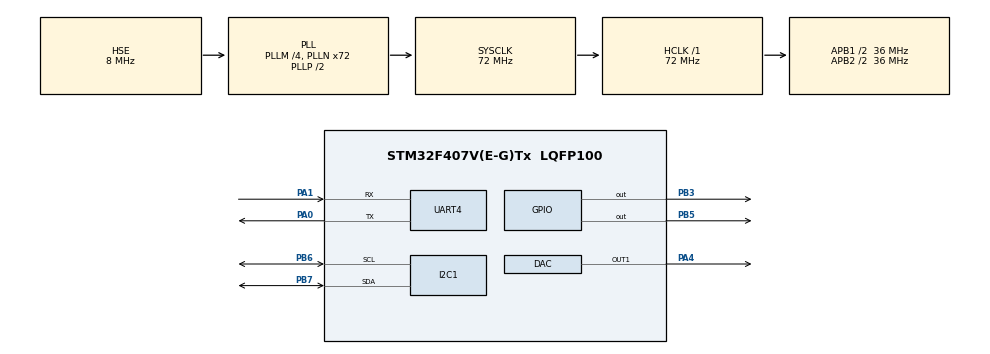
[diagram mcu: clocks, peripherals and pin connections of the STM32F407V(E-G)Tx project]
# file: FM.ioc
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DAC.DAC_OutputBuffer=DAC_OUTPUTBUFFER_DISABLE
DAC.DAC_Trigger=DAC_TRIGGER_T2_TRGO
DAC.WaveGeneration=DISABLE
Dma.DAC1.0.Direction=DMA_MEMORY_TO_PERIPH
Dma.DAC1.0.FIFOMode=DMA_FIFOMODE_DISABLE
Dma.DAC1.0.Instance=DMA1_Stream5
Dma.DAC1.0.MemDataAlignment=DMA_MDATAALIGN_HALFWORD
Dma.DAC1.0.MemInc=DMA_MINC_ENABLE
Dma.DAC1.0.Mode=DMA_CIRCULAR
Dma.DAC1.0.PeriphDataAlignment=DMA_PDATAALIGN_HALFWORD
Dma.DAC1.0.PeriphInc=DMA_PINC_DISABLE
Dma.DAC1.0.Priority=DMA_PRIORITY_LOW
Dma.Request0=DAC1
I2C1.OwnAddress=0x58
Mcu.Family=STM32F4
Mcu.Name=STM32F407V(E-G)Tx
Mcu.Package=LQFP100
NVIC.DMA1_Stream5_IRQn=true\:0\:0\:false\:false\:true\:false\:true\:true
NVIC.I2C1_ER_IRQn=true\:0\:0\:false\:false\:true\:true\:true\:true
NVIC.PriorityGroup=NVIC_PRIORITYGROUP_4
PA0-WKUP.Mode=Asynchronous
PA0-WKUP.Signal=UART4_TX
PA1.Mode=Asynchronous
PA1.Signal=UART4_RX
PA13.Mode=Serial_Wire
PA13.Signal=SYS_JTMS-SWDIO
PA14.Mode=Serial_Wire
PA14.Signal=SYS_JTCK-SWCLK
PA4.Signal=COMP_DAC1_group
PB3.Signal=GPIO_Output
PB5.Signal=GPIO_Output
PB6.GPIO_Pu=GPIO_PULLUP
PB6.Mode=I2C
PB6.Signal=I2C1_SCL
PB7.GPIO_Pu=GPIO_PULLUP
PB7.Mode=I2C
PB7.Signal=I2C1_SDA
PH0-OSC_IN.Mode=HSE-External-Oscillator
PH0-OSC_IN.Signal=RCC_OSC_IN
PH1-OSC_OUT.Mode=HSE-External-Oscillator
PH1-OSC_OUT.Signal=RCC_OSC_OUT
ProjectManager.HeapSize=0x200
ProjectManager.StackSize=0x400
ProjectManager.TargetToolchain=MDK-ARM V5
RCC.48MHZClocksFreq_Value=36000000
RCC.AHBFreq_Value=72000000
RCC.APB1CLKDivider=RCC_HCLK_DIV2
RCC.APB1Freq_Value=36000000
RCC.APB1TimFreq_Value=72000000
RCC.APB2CLKDivider=RCC_HCLK_DIV2
RCC.APB2Freq_Value=36000000
RCC.APB2TimFreq_Value=72000000
RCC.CortexFreq_Value=72000000
RCC.HCLKFreq_Value=72000000
RCC.HSE_VALUE=8000000
RCC.HSI_VALUE=16000000
RCC.LSE_VALUE=32768
RCC.PLLM=4
RCC.PLLN=72
RCC.PLLSourceVirtual=RCC_PLLSOURCE_HSE
RCC.SYSCLKFreq_VALUE=72000000
RCC.SYSCLKSource=RCC_SYSCLKSOURCE_PLLCLK
RCC.VCOOutputFreq_Value=144000000
SH.COMP_DAC1_group.0=DAC_OUT1,DAC_OUT1
TIM2.AutoReloadPreload=TIM_AUTORELOAD_PRELOAD_ENABLE
TIM2.Period=71
TIM2.Prescaler=0
TIM2.TIM_MasterOutputTrigger=TIM_TRGO_UPDATE
UART4.VirtualMode=Asynchronous
VP_TIM2_VS_ClockSourceINT.Mode=Internal
board=custom

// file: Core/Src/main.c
/* USER CODE BEGIN Header */
/**
  ******************************************************************************
  * @file           : main.c
  * @brief          : Main program body
  ******************************************************************************
  * @attention
  *
  * Copyright (c) 2025 STMicroelectronics.
  * All rights reserved.
  *
  * This software is licensed under terms that can be found in the LICENSE file
  * in the root directory of this software component.
  * If no LICENSE file comes with this software, it is provided AS-IS.
  *
  ******************************************************************************
  */
/* USER CODE END Header */
#include "main.h"
#include "dac.h"
#include "dma.h"
#include "i2c.h"
#include "tim.h"
#include "usart.h"
#include "gpio.h"

/* USER CODE BEGIN Includes */
#include "QN8027.h"
/* USER CODE END Includes */

/* USER CODE BEGIN PD */
uint16_t sin128[128] ={
	2048, 2148, 2248, 2348, 2447, 2545, 2642, 2737,
	2831, 2923, 3012, 3100, 3185, 3267, 3346, 3422,
	3495, 3564, 3630, 3692, 3750, 3803, 3853, 3898,
	3939, 3975, 4006, 4033, 4055, 4072, 4085, 4092,
	4095, 4092, 4085, 4072, 4055, 4033, 4006, 3975,
	3939, 3898, 3853, 3803, 3750, 3692, 3630, 3564,
	3495, 3422, 3346, 3267, 3185, 3100, 3012, 2923,
	2831, 2737, 2642, 2545, 2447, 2348, 2248, 2148,
	2048, 1947, 1847, 1747, 1648, 1550, 1453, 1358,
	1264, 1172, 1083, 995, 910, 828, 749, 673,
	600, 531, 465, 403, 345, 292, 242, 197,
	156, 120, 89, 62, 40, 23, 10, 3,
	1, 3, 10, 23, 40, 62, 89, 120,
	156, 197, 242, 292, 345, 403, 465, 531,
	600, 673, 749, 828, 910, 995, 1083, 1172,
	1264, 1358, 1453, 1550, 1648, 1747, 1847, 1947};

uint8_t QN8027InitReg[19] = {0}; // QN8027初始化标志
/* USER CODE END PD */

void SystemClock_Config(void);

int main(void)
{

  /* MCU Configuration--------------------------------------------------------*/

  /* Reset of all peripherals, Initializes the Flash interface and the Systick. */
  HAL_Init();

  /* Configure the system clock */
  SystemClock_Config();

  /* Initialize all configured peripherals */
//  MX_GPIO_Init();
		MX_DMA_Init();
		MX_I2C1_Init();
		MX_TIM2_Init();
		MX_DAC_Init();
		MX_UART4_Init();
		/* USER CODE BEGIN 2 */
		// 启动DAC和定时器
		HAL_TIM_Base_Start(&htim2);
		HAL_DAC_Start_DMA(&hdac,DAC_CHANNEL_1,(uint32_t *)sin128,128,DAC_ALIGN_12B_R);
	HAL_Delay(100);

		QN8027ReadAllRegisters(QN8027InitReg); // 读取QN8027寄存器内容
		HAL_UART_Transmit(&huart4, QN8027InitReg, 19, 1000); // 通过UART发送寄存器内容

		QN8027Initialize();

		QN8027ReadAllRegisters(QN8027InitReg); // 读取QN8027寄存器内容
		HAL_UART_Transmit(&huart4, QN8027InitReg, 19, 1000); // 通过UART发送寄存器内容
  /* USER CODE END 2 */

  /* Infinite loop */
  while (1)
  {

  }
}

void SystemClock_Config(void)
{
  RCC_OscInitTypeDef RCC_OscInitStruct = {0};
  RCC_ClkInitTypeDef RCC_ClkInitStruct = {0};

  /** Configure the main internal regulator output voltage
  */
  __HAL_RCC_PWR_CLK_ENABLE();
  __HAL_PWR_VOLTAGESCALING_CONFIG(PWR_REGULATOR_VOLTAGE_SCALE1);

  /** Initializes the RCC Oscillators according to the specified parameters
  * in the RCC_OscInitTypeDef structure.
  */
  RCC_OscInitStruct.OscillatorType = RCC_OSCILLATORTYPE_HSE;
  RCC_OscInitStruct.HSEState = RCC_HSE_ON;
  RCC_OscInitStruct.PLL.PLLState = RCC_PLL_ON;
  RCC_OscInitStruct.PLL.PLLSource = RCC_PLLSOURCE_HSE;
  RCC_OscInitStruct.PLL.PLLM = 4;
  RCC_OscInitStruct.PLL.PLLN = 72;
  RCC_OscInitStruct.PLL.PLLP = RCC_PLLP_DIV2;
  RCC_OscInitStruct.PLL.PLLQ = 4;
  if (HAL_RCC_OscConfig(&RCC_OscInitStruct) != HAL_OK)
  {
    Error_Handler();
  }

  /** Initializes the CPU, AHB and APB buses clocks
  */
  RCC_ClkInitStruct.ClockType = RCC_CLOCKTYPE_HCLK|RCC_CLOCKTYPE_SYSCLK
                              |RCC_CLOCKTYPE_PCLK1|RCC_CLOCKTYPE_PCLK2;
  RCC_ClkInitStruct.SYSCLKSource = RCC_SYSCLKSOURCE_PLLCLK;
  RCC_ClkInitStruct.AHBCLKDivider = RCC_SYSCLK_DIV1;
  RCC_ClkInitStruct.APB1CLKDivider = RCC_HCLK_DIV2;
  RCC_ClkInitStruct.APB2CLKDivider = RCC_HCLK_DIV2;

  if (HAL_RCC_ClockConfig(&RCC_ClkInitStruct, FLASH_LATENCY_2) != HAL_OK)
  {
    Error_Handler();
  }
}

/* USER CODE BEGIN 4 */
// I2C错误回调
void HAL_I2C_ErrorCallback(I2C_HandleTypeDef *hi2c){
  if (hi2c->Instance == I2C1)
  {
    // I2C错误处理，用串口向上位机发送错误信息
    uint8_t errorMsg[] = "I2C Error occurred!\n";
    HAL_UART_Transmit(&huart4, errorMsg, sizeof(errorMsg) - 1, 100);
  }
}
/* USER CODE END 4 */

void Error_Handler(void)
{
  __disable_irq();
  while (1)
  {
  }
}
